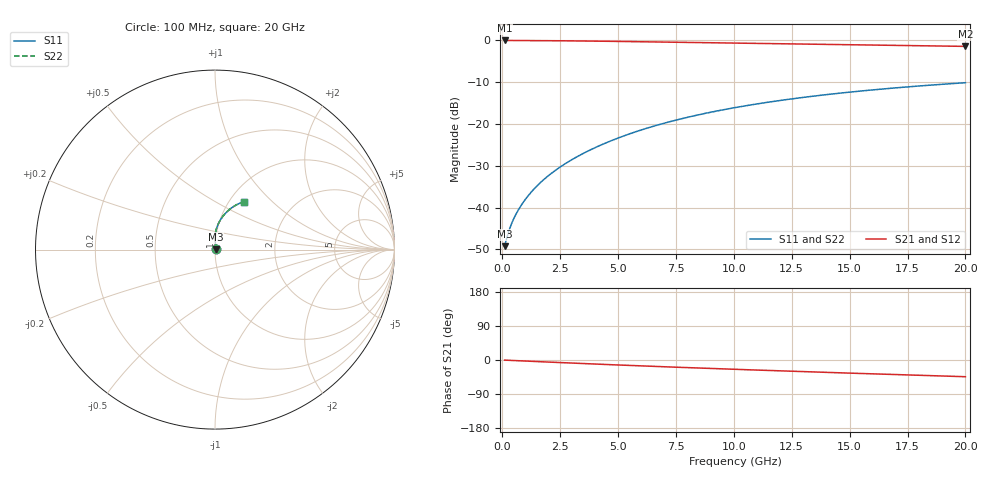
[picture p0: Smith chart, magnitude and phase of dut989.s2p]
! Touchstone file exported from HFSS 2024.1.0
!  File:  C:/UserFiles/LocalFiles/RDL_TSV_Batchsim/temp_RDL_top_989_1779939549.aedt
!  Generated:  11:41:23 AM May 28, 2026
!  Design:  RDL_top
!  Project:  temp_RDL_top_989_1779939549
!  Setup:  Setup1
!  Solution:  Sweep
! Variables:
!  dtsv = 10.80580581um
!  hbump = 3um
!  htsv = 71.43um
!  ldown = 100um
!  lrdl = 674.9um
!  p = 40
!  p1 = 48.5um
!  rhole = 1um
!  t = 450um
!  tdown = 3.915915916um
!  trdl = 2.97um
!  wdown = 15.38538539um
!  wrdl = 28.42um
# GHz S MA R 50.000000
! Terminal data exported
! Port[1] = Box2_T1
! Port[2] = Box2_T2
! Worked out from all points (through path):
!   200 points, 100 MHz to 20 GHz, reference 50 ohm
!   highest |S21| = -0.03 dB at 100 MHz (marker M1); lowest = -1.4 dB at 20 GHz (marker M2)
!   group delay of S21, straight-line fit = 6.04 ps
!   lowest |S11| = -49.2 dB at 100 MHz (marker M3), VSWR 1.01, Z = 50.3 + j0.15 ohm
!   |S11| at or under -10 dB: start of sweep to end of sweep
!   |S22| runs from -49.2 to -10.1 dB; largest |S21 - S12| = 3.2e-15
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0.1  0.003465 25.4  0.9969 -0.3  0.9969 -0.3  0.003465 25.4
! Gamma 0 0 0 0
! Port Impedance 50 0 50 0
0.2  0.004388 40.7  0.9966 -0.6  0.9966 -0.6  0.004388 40.7
0.3  0.005418 49.3  0.9963 -0.9  0.9963 -0.9  0.005418 49.3
0.4  0.006437 54.9  0.996 -1.1  0.996 -1.1  0.006437 54.9
0.5  0.007441 59.3  0.9958 -1.4  0.9958 -1.4  0.007441 59.3
0.6  0.008445 62.8  0.9955 -1.7  0.9955 -1.7  0.008445 62.8
0.8  0.01049 68.3  0.995 -2.2  0.995 -2.2  0.01049 68.3
1.2  0.0148 75.7  0.9939 -3.3  0.9939 -3.3  0.0148 75.7
1.7  0.02057 81.2  0.9922 -4.7  0.9922 -4.7  0.02057 81.2
2.2  0.02674 84.6  0.99 -6.0  0.99 -6.0  0.02673 84.6
2.8  0.03464 87.2  0.9867 -7.6  0.9867 -7.6  0.03463 87.2
3.5  0.04454 88.9  0.9823 -9.4  0.9823 -9.4  0.04453 88.9
4.2  0.05513 89.7  0.9772 -11.2  0.9772 -11.2  0.05512 89.7
5  0.06795 89.7  0.9708 -13.2  0.9708 -13.2  0.06794 89.7
5.9  0.08312 89.0  0.9633 -15.3  0.9633 -15.3  0.0831 89.0
6.8  0.09883 87.7  0.9554 -17.4  0.9554 -17.4  0.09882 87.8
8.4  0.1275 84.8  0.9413 -21.0  0.9413 -21.0  0.1274 84.8
10.1  0.1579 81.0  0.9265 -24.7  0.9265 -24.7  0.1579 81.0
11.7  0.186 77.3  0.9128 -28.0  0.9128 -28.0  0.186 77.3
13.4  0.2147 73.4  0.8987 -31.5  0.8987 -31.5  0.2147 73.4
16.7  0.2662 65.9  0.8722 -37.9  0.8722 -37.9  0.2662 66.0
20  0.3115 59.0  0.8469 -44.1  0.8469 -44.1  0.3115 59.0
